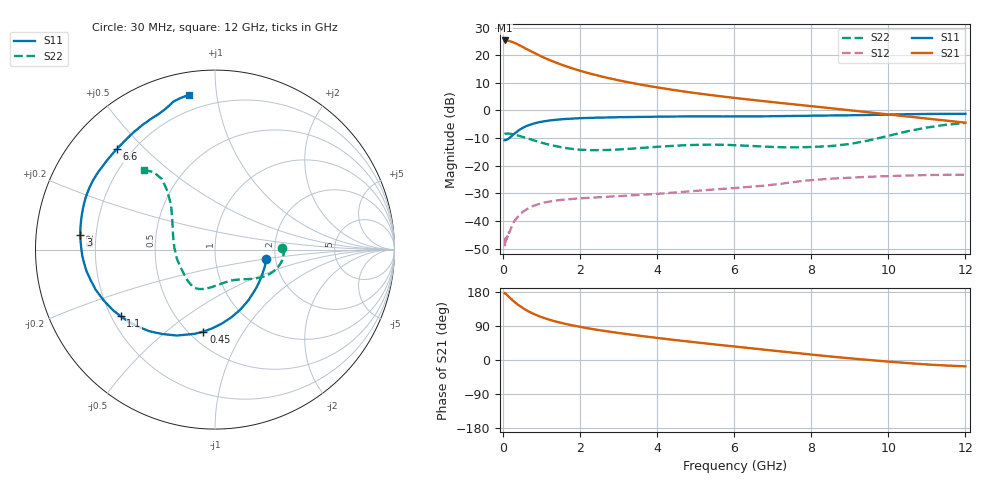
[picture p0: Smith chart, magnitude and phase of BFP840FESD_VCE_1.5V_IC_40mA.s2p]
! Infineon Technologies  Discrete & RF Semiconductors
! BFP840FESD
! VCE =  1.5 V,  IC =  40 mA
! Common Emitter S-Parameters:  May 2012
# GHz  S  MA  R  50
!  f  S11  S21  S12  S22
! GHz  MAG  ANG  MAG  ANG  MAG  ANG  MAG  ANG
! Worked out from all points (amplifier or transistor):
!   103 points, 30 MHz to 12 GHz, reference 50 ohm
!   highest |S21| = 25.3 dB at 30 MHz (marker M1)
!   |S21| within 3 dB of that: start of sweep to 584.2 MHz
!   unconditionally stable (mu >= 1): start of sweep to end of sweep
!   at 400 MHz: K = 1.87, MAG = 25.5 dB, |S12| = -38.1 dB
!   at 3.7 GHz: K = 2.20, MAG = 13.5 dB, |S12| = -30.4 dB
!   at 12 GHz: K = 2.29, MAG = 3.0 dB, |S12| = -23.2 dB
!   S11 on the Smith chart (normalised r, x): 30 MHz: 1.78, -0.20; 450 MHz: 0.59, -0.68; 1.1 GHz: 0.24, -0.30; 3 GHz: 0.14, +0.05; 6.6 GHz: 0.14, +0.41; 12 GHz: 0.12, +0.84
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0.03  0.2894 -10.2  18.51 176.4  0.0035 40.4  0.373 1.5
0.04  0.2885 -13.3  18.41 175.4  0.0036 37.4  0.3773 0.6
0.05  0.2923 -16.4  18.36 175.9  0.0051 32.2  0.3797 -0.4
0.12  0.3057 -36.6  18.26 168.9  0.0061 43.0  0.3829 -5.6
0.2  0.3383 -56.6  17.65 161.1  0.0075 48.5  0.3764 -10.5
0.25  0.3629 -67.1  17.11 156.5  0.0092 51.3  0.3704 -13.1
0.35  0.4129 -84.5  16.08 148.1  0.0114 50.0  0.3553 -18.0
0.45  0.4615 -98.1  14.76 140.8  0.0135 50.0  0.3395 -22.4
0.6  0.5233 -113.8  12.92 131.1  0.0162 46.3  0.3163 -27.8
0.7  0.5544 -121.9  11.94 125.8  0.0178 44.5  0.3007 -30.8
0.9  0.6065 -134.9  10.18 116.7  0.0201 40.8  0.2726 -36.2
1.1  0.6433 -144.8  8.761 109.4  0.0218 38.3  0.2496 -41.0
1.3  0.6709 -152.5  7.666 103.2  0.0231 35.7  0.2309 -45.6
1.5  0.6914 -158.7  6.772 98.0  0.0241 34.1  0.2163 -50.2
2.1  0.7296 -172.4  4.973 85.3  0.026 31.9  0.1936 -65.0
3  0.7548 173.8  3.508 71.2  0.0281 32.8  0.197 -84.9
4.1  0.7738 160.3  2.548 57.0  0.0314 36.0  0.2223 -102.8
6.1  0.7803 139.9  1.66 34.5  0.04 40.1  0.2339 -127.8
6.6  0.7828 134.4  1.517 29.2  0.0426 41.0  0.2253 -136.1
8.5  0.8117 115.7  1.099 9.2  0.0582 36.5  0.227 177.1
10.5  0.8559 105.8  0.779 -8.1  0.0665 27.7  0.4211 129.1
12  0.8704 99.4  0.601 -16.7  0.0689 24.0  0.5939 131.9
